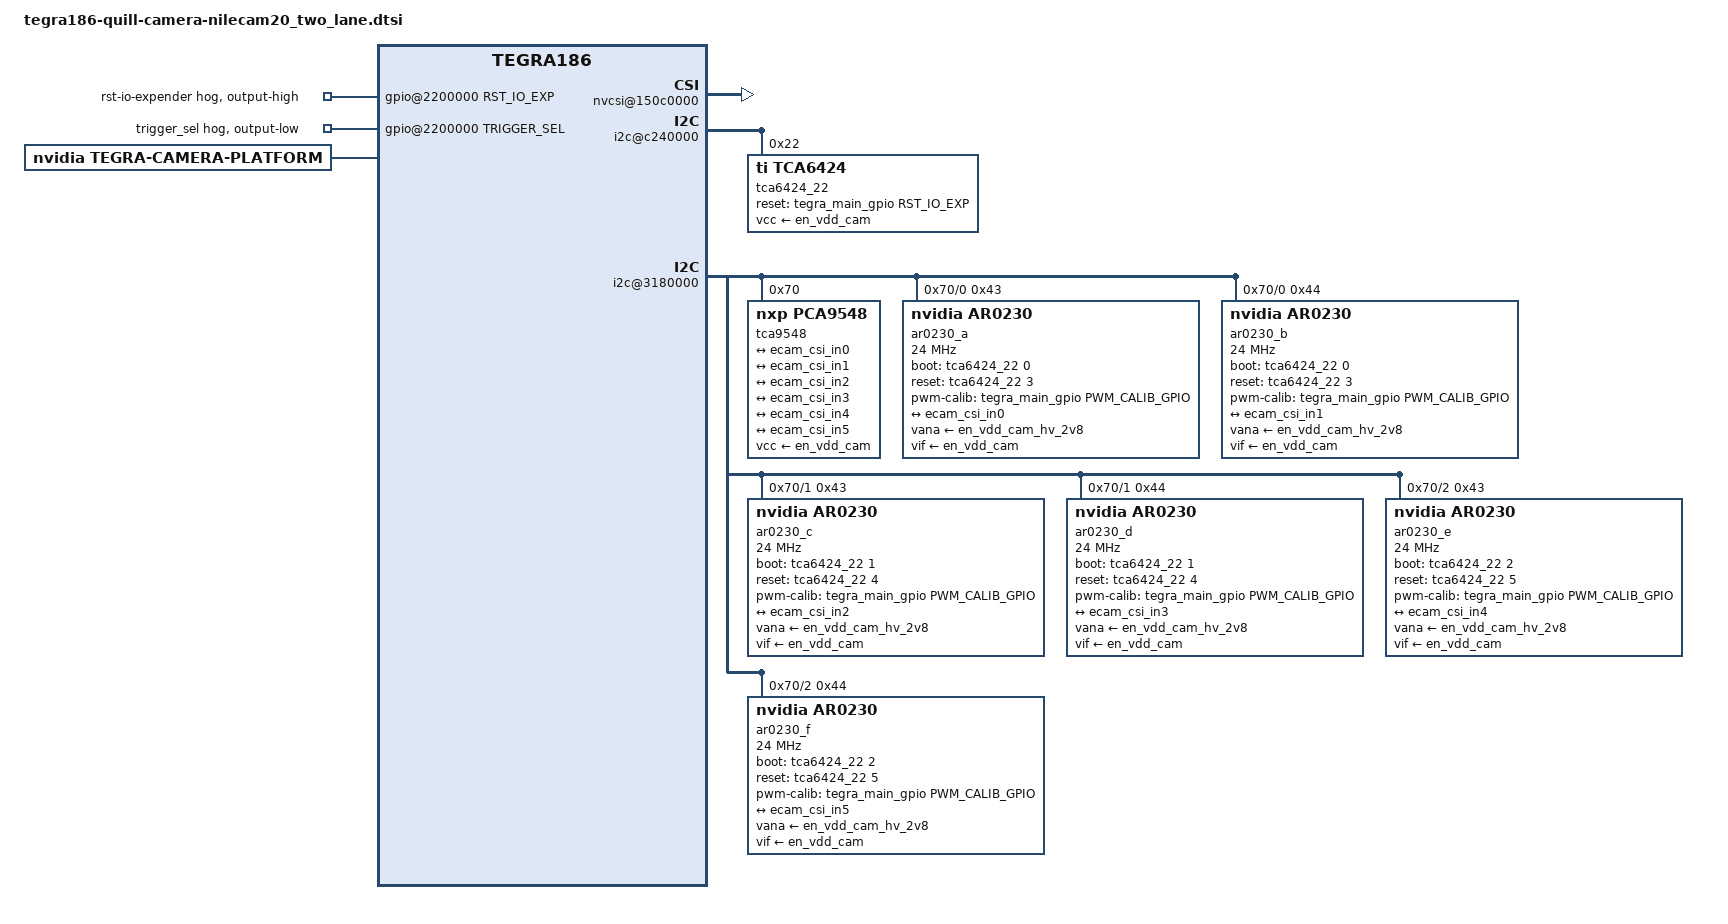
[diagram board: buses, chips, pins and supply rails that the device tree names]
/* Econ device tree for AR0230 support */
#include "dt-bindings/clock/tegra186-clock.h"
#define PWM_CALIB_GPIO	TEGRA_MAIN_GPIO(R, 0)
#define TRIGGER_SEL	TEGRA_MAIN_GPIO(R, 5)
#define RST_IO_EXP 	TEGRA_MAIN_GPIO(R, 1)

#define CAM_LANES 2
#define CAM_LANES_STRING "2"

/* Enable Six overlays in Jetson TX2 */
&head1 {
	win-mask = <0x3f>;
};
/* Disable en_vdd_sys for using ECON PWM Chip */
&en_vdd_sys{
	status="disabled";
};

/ {
	gpio@2200000 {
		camera-control-output-high {
                        status = "okay";
                        gpio-hog;
                        gpios = <RST_IO_EXP 0>;
                        output-high;
                        label = "rst-io-expender";
                };
		camera-control-output-low {
                        status = "okay";
			gpio-hog;
			gpios = <TRIGGER_SEL 0>;
			output-low;
			label = "trigger_sel";
		};
	};

	host1x {
		vi@15700000 {
			num-channels = <6>;
			#address-cells = <1>;
			#size-cells = <0>;
			status = "okay";
			ports {
				#address-cells = <1>;
				#size-cells = <0>;
				port@0 {
					reg = <0>;
					status = "okay";
					ecam_vi_in0: endpoint {
						status = "okay";
						port-index = <0>;
						bus-width = <CAM_LANES>;
						remote-endpoint = <&ecam_csi_out0>;
					};
				};
				port@1 {
                                        reg = <1>;
					status = "okay";
                                        ecam_vi_in1: endpoint {
						status = "okay";
                                                port-index = <1>;
                                                bus-width = <CAM_LANES>;
                                                remote-endpoint = <&ecam_csi_out1>;
                                        };
                                };
                		port@2 {
                                        reg = <2>;
					status = "okay";
                                        ecam_vi_in2: endpoint {
						status = "okay";
                                                port-index = <2>;
                                                bus-width = <CAM_LANES>;
                                                remote-endpoint = <&ecam_csi_out2>;
                                        };
                                };
				port@3 {
                                        reg = <3>;
					status = "okay";
                                        ecam_vi_in3: endpoint {
						status = "okay";
                                                port-index = <3>;
                                                bus-width = <CAM_LANES>;
                                                remote-endpoint = <&ecam_csi_out3>;
                                        };
                                };
				port@4 {
                                        reg = <4>;
					status = "okay";
                                        ecam_vi_in4: endpoint {
						status = "okay";
                                                port-index = <4>;
                                                bus-width = <CAM_LANES>;
                                                remote-endpoint = <&ecam_csi_out4>;
                                        };
                                };
				port@5 {
                                        reg = <5>;
					status = "okay";
                                        ecam_vi_in5: endpoint {
						status = "okay";
                                                port-index = <5>;
                                                bus-width = <CAM_LANES>;
                                                remote-endpoint = <&ecam_csi_out5>;
                                        };
                                };
			};
		};
		
		nvcsi@150c0000 {
			num-channels = <6>;
			#address-cells = <1>;
			#size-cells = <0>;
			status = "okay";
	    		channel@0 {
				reg = <0>;
				status = "okay";
				ports {
					#address-cells = <1>;
					#size-cells = <0>;
					port@0 {
						reg = <0>;
						status = "okay";
						ecam_csi_in0: endpoint@0 {
							status = "okay";
							port-index = <0>;
							bus-width = <CAM_LANES>;
							remote-endpoint = <&ecam_ar0230_out0>;
						};
					};
					port@1 {
						reg = <1>;
						status = "okay";
						ecam_csi_out0: endpoint@1 {
							status = "okay";
							remote-endpoint = <&ecam_vi_in0>;
						};
					};
				};
			};
            		channel@1 {
                                reg = <1>;
				status = "okay";
                                ports {
                                        #address-cells = <1>;
                                        #size-cells = <0>;
                                        port@0 {
                                                reg = <0>;
						status = "okay";
                                                ecam_csi_in1: endpoint@2 {
							status = "okay";
                                                        port-index = <1>;
                                                        bus-width = <CAM_LANES>;
                                                        remote-endpoint = <&ecam_ar0230_out1>;
                                                };
                                        };
                                        port@1 {
                                                reg = <1>;
						status = "okay";
                                                ecam_csi_out1: endpoint@3 {
							status = "okay";
                                                        remote-endpoint = <&ecam_vi_in1>;
                                                };
                                        };
                                };
                        };
            		channel@2 {
                                reg = <2>;
				status = "okay";
                                ports {
                                        #address-cells = <1>;
                                        #size-cells = <0>;
                                        port@0 {
                                                reg = <0>;
						status = "okay";
                                                ecam_csi_in2: endpoint@4 {
							status = "okay";
                                                        port-index = <2>;
                                                        bus-width = <CAM_LANES>;
                                                        remote-endpoint = <&ecam_ar0230_out2>;
                                                };
                                        };
                                        port@1 {
                                                reg = <1>;
						status = "okay";
                                                ecam_csi_out2: endpoint@5 {
							status = "okay";
                                                        remote-endpoint = <&ecam_vi_in2>;
                                                };
                                        };
                                };
                        };
			channel@3 {
                                reg = <3>;
				status = "okay";
                                ports {
                                        #address-cells = <1>;
                                        #size-cells = <0>;
                                        port@0 {
                                                reg = <0>;
						status = "okay";
                                                ecam_csi_in3: endpoint@6 {
							status = "okay";
                                                        port-index = <3>;
                                                        bus-width = <CAM_LANES>;
                                                        remote-endpoint = <&ecam_ar0230_out3>;
                                                };
                                        };
                                        port@1 {
                                                reg = <1>;
						status = "okay";
                                                ecam_csi_out3: endpoint@7 {
							status = "okay";
                                                        remote-endpoint = <&ecam_vi_in3>;
                                                };
                                        };
                                };
                        };
			channel@4 {
                                reg = <4>;
				status = "okay";
                                ports {
                                        #address-cells = <1>;
                                        #size-cells = <0>;
                                        port@0 {
                                                reg = <0>;
						status = "okay";
                                                ecam_csi_in4: endpoint@8 {
							status = "okay";
                                                        port-index = <4>;
                                                        bus-width = <CAM_LANES>;
                                                        remote-endpoint = <&ecam_ar0230_out4>;
                                                };
                                        };
                                        port@1 {
                                                reg = <1>;
						status = "okay";
                                                ecam_csi_out4: endpoint@9 {
							status = "okay";
                                                        remote-endpoint = <&ecam_vi_in4>;
                                                };
                                        };
                                };
                        };
			channel@5 {
				reg = <5>;
				status = "okay";
				ports {
					#address-cells = <1>;
					#size-cells = <0>;
					port@0 {
						reg = <0>;
						status = "okay";
						ecam_csi_in5: endpoint@10 {
							status = "okay";
							port-index = <5>;
							bus-width = <CAM_LANES>;
							remote-endpoint = <&ecam_ar0230_out5>;
						};
					};
					port@1 {
						reg = <1>;
						status = "okay";
						ecam_csi_out5: endpoint@11 {
							status = "okay";
							remote-endpoint = <&ecam_vi_in5>;
						};
					};
				};
			};
		};
	};

	i2c@c240000{
		status = "okay";
		#address-cells = <1>;
		#size-cells = <0>;
		tca6424_22: tca6424@22 {
			    compatible = "ti,tca6424";
			    gpio-controller;
			    #gpio-cells = <2>;
			    reg = <0x22>;
			    vcc-supply = <&en_vdd_cam>;
			    reset-gpios = <&tegra_main_gpio RST_IO_EXP GPIO_ACTIVE_HIGH>; 
			    status = "okay";
			    tca6424_22_outlow {
				    /*
				     * GPIO-0  : RST_CAM1
				     * GPIO-1  : RST_CAM2
				     * GPIO-2  : RST_CAM3
				     * GPIO-3  : RST_CAM4
				     * GPIO-4  : RST_CAM5
				     * GPIO-5  : RST_CAM6
				     * GPIO-7  : PWDN_CAM2
				     * GPIO-8  : PWDN_CAM3
				     * GPIO-9  : PWDN_CAM4
				     * GPIO-10 : PWDN_CAM5
				     * GPIO-11 : PWDN_CAM6
				     */
	
				    gpio-hog;
				    gpios = <0 0 1 0 2 0 6 0 7 0 8 0 9 0 10 0 11 0 12 0 13 0 14 0 15 0 19 0 20 0 21 0 22 0 23 0>;
				    output-low;
				    label = "tca6424_22_outlow_0",
					  "tca6424_22_outlow_1",
					  "tca6424_22_outlow_2",
					  "tca6424_22_outlow_3",
					  "tca6424_22_outlow_4",
					  "tca6424_22_outlow_5",
					  "tca6424_22_outlow_7",
					  "tca6424_22_outlow_8",
					  "tca6424_22_outlow_9",
					  "tca6424_22_outlow_10",
					  "tca6424_22_outlow_11",
					  "tca6424_22_outlow_12",
					  "tca6424_22_outlow_13";
			    };
		    tca6424_22_outhigh {
			 gpio-hog;
			 gpios = < 3 0 4 0 5 0 16 0 17 0 18 0>;
			 output-high;
			 label = "tca6424_22_outhigh_3",
			 	 "tca6424_22_outhigh_4",
			 	 "tca6424_22_outhigh_5",
			         "tca6424_22_outhigh_16",
			         "tca6424_22_outhigh_17",
			         "tca6424_22_outhigh_18";
		    };
		    tca6424_22_input {
			    status = "disabled";
		    };
	    };

 	};
	/* i2c-2 - 3180000 for e-con camera */
	i2c@3180000 {
		status = "okay";
		#address-cells = <1>;
		#size-cells = <0>;
		tca9548@70 {	
			compatible = "nxp,pca9548";
			reg = <0x70>;
			#address-cells = <1>;
			#size-cells = <0>;
			vcc-supply = <&en_vdd_cam>;
			skip_mux_detect;
			force_bus_start = <0x1e>;
			i2c@0 {
				reg = <0>;
				i2c-mux,deselect-on-exit;
				#address-cells = <1>;
				#size-cells = <0>;
				status = "okay";
				ar0230_a@43 {
					status = "okay";
					compatible = "nvidia,ar0230";
					reg = <0x43>;
					sensor_model ="ar0230";
					avdd-reg = "vana";
					iovdd-reg = "vif";
					clocks = <&tegra_car TEGRA186_CLK_EXTPERIPH1>,
							 <&tegra_car TEGRA186_CLK_PLLP_OUT0>;
					clock-names = "extperiph1", "pllp_grtba";
					mclk = "extperiph1";
					clock-frequency = <24000000>;
					boot-gpios = <&tca6424_22 0 GPIO_ACTIVE_HIGH>;
					reset-gpios = <&tca6424_22 3 GPIO_ACTIVE_HIGH>; 
					vana-supply = <&en_vdd_cam_hv_2v8>;
					vif-supply = <&en_vdd_cam>;
					use_sensor_mode_id = "false";
					camera_mipi_lanes = <2>;
					sio-port = "A";
				        pwm-invert= <1>;
                                        pwm-duty_ns = <0x1CBC720>;
                                        pwm-period_ns = <0x2037FE7>;
                                        pwm-calib-gpio = <&tegra_main_gpio PWM_CALIB_GPIO GPIO_ACTIVE_HIGH>;
                                        pwm-name = "ecam-trigger";
#define TEGRA_SINTERFACE "serial_a"
#include "nilecam20_cuxvr_mode.dtsi"	
					ports {
						#address-cells = <1>;
						#size-cells = <0>;
						port@0 {
							reg = <0>;
							ecam_ar0230_out0: endpoint {
								port-index = <0>;
								bus-width = <CAM_LANES>;
								remote-endpoint = <&ecam_csi_in0>;
								};
							};
						};
					};
				ar0230_b@44 {
					status = "okay";
					compatible = "nvidia,ar0230";
					reg = <0x44>;
					sensor_model ="ar0230";
					avdd-reg = "vana";
					iovdd-reg = "vif";
					clocks = <&tegra_car TEGRA186_CLK_EXTPERIPH1>,
							 <&tegra_car TEGRA186_CLK_PLLP_OUT0>;
					clock-names = "extperiph1", "pllp_grtba";
					mclk = "extperiph1";
					clock-frequency = <24000000>;
					boot-gpios = <&tca6424_22 0 GPIO_ACTIVE_HIGH>;
					reset-gpios = <&tca6424_22 3 GPIO_ACTIVE_HIGH>; 
					vana-supply = <&en_vdd_cam_hv_2v8>;
					vif-supply = <&en_vdd_cam>;
					use_sensor_mode_id = "false";
					camera_mipi_lanes = <2>;	
					sio-port = "B";	
				        pwm-invert= <1>;
                                        pwm-duty_ns = <0x1CBC720>;
                                        pwm-period_ns = <0x2037FE7>;
                                        pwm-calib-gpio = <&tegra_main_gpio PWM_CALIB_GPIO GPIO_ACTIVE_HIGH>;
                                        pwm-name = "ecam-trigger";
#undef TEGRA_SINTERFACE	
#define TEGRA_SINTERFACE "serial_b"
#include "nilecam20_cuxvr_mode.dtsi"	
					ports {
						#address-cells = <1>;
						#size-cells = <0>;
						port@0 {
							reg = <0>;
							ecam_ar0230_out1: endpoint {
								port-index = <1>;
								bus-width = <CAM_LANES>;
								remote-endpoint = <&ecam_csi_in1>;
								};
							};
						};
					};
				};
			i2c@1 {
				reg = <1>;
				i2c-mux,deselect-on-exit;
				#address-cells = <1>;
				#size-cells = <0>;
				status = "okay";
				ar0230_c@43 {
					status = "okay";
					compatible = "nvidia,ar0230";
					reg = <0x43>;
					sensor_model ="ar0230";
					avdd-reg = "vana";
					iovdd-reg = "vif";
					clocks = <&tegra_car TEGRA186_CLK_EXTPERIPH1>,
							 <&tegra_car TEGRA186_CLK_PLLP_OUT0>;
					clock-names = "extperiph1", "pllp_grtba";
					mclk = "extperiph1";
					clock-frequency = <24000000>;
					boot-gpios = <&tca6424_22 1 GPIO_ACTIVE_HIGH>;
					reset-gpios = <&tca6424_22 4 GPIO_ACTIVE_HIGH>; 
					vana-supply = <&en_vdd_cam_hv_2v8>;
					vif-supply = <&en_vdd_cam>;
					use_sensor_mode_id = "false";
					camera_mipi_lanes = <2>;
					sio-port = "A";	
				        pwm-invert= <1>;
                                        pwm-duty_ns = <0x1CBC720>;
                                        pwm-period_ns = <0x2037FE7>;
                                        pwm-calib-gpio = <&tegra_main_gpio PWM_CALIB_GPIO GPIO_ACTIVE_HIGH>;
                                        pwm-name = "ecam-trigger";	
#undef TEGRA_SINTERFACE	
#define TEGRA_SINTERFACE "serial_c"
#include "nilecam20_cuxvr_mode.dtsi"	
					ports {
						#address-cells = <1>;
						#size-cells = <0>;
						port@0 {
							reg = <0>;
							ecam_ar0230_out2: endpoint {
								port-index = <2>;
								bus-width = <CAM_LANES>;
								remote-endpoint = <&ecam_csi_in2>;
								};
							};
						};
					};
				ar0230_d@44 {
					status = "okay";
					compatible = "nvidia,ar0230";
					reg = <0x44>;
					sensor_model ="ar0230";
					avdd-reg = "vana";
					iovdd-reg = "vif";
					clocks = <&tegra_car TEGRA186_CLK_EXTPERIPH1>,
							 <&tegra_car TEGRA186_CLK_PLLP_OUT0>;
					clock-names = "extperiph1", "pllp_grtba";
					mclk = "extperiph1";
					clock-frequency = <24000000>;
					boot-gpios = <&tca6424_22 1 GPIO_ACTIVE_HIGH>;
					reset-gpios = <&tca6424_22 4 GPIO_ACTIVE_HIGH>;
					vana-supply = <&en_vdd_cam_hv_2v8>;
					vif-supply = <&en_vdd_cam>;
					use_sensor_mode_id = "false";
					camera_mipi_lanes = <2>;	
					sio-port = "B";	
				        pwm-invert= <1>;
                                        pwm-duty_ns = <0x1CBC720>;
                                        pwm-period_ns = <0x2037FE7>;
                                        pwm-calib-gpio = <&tegra_main_gpio PWM_CALIB_GPIO GPIO_ACTIVE_HIGH>;
                                        pwm-name = "ecam-trigger";	
#undef TEGRA_SINTERFACE	
#define TEGRA_SINTERFACE "serial_d"
#include "nilecam20_cuxvr_mode.dtsi"	
					ports {
						#address-cells = <1>;
						#size-cells = <0>;
						port@0 {
							reg = <0>;
							ecam_ar0230_out3: endpoint {
								port-index = <3>;
								bus-width = <CAM_LANES>;
								remote-endpoint = <&ecam_csi_in3>;
								};
							};
						};
					};
				};
			i2c@2 {
				reg = <2>;
				i2c-mux,deselect-on-exit;
				#address-cells = <1>;
				#size-cells = <0>;
				status = "okay";
				ar0230_e@43 {
					status = "okay";
					compatible = "nvidia,ar0230";
					reg = <0x43>;
					sensor_model ="ar0230";
					avdd-reg = "vana";
					iovdd-reg = "vif";
					clocks = <&tegra_car TEGRA186_CLK_EXTPERIPH1>,
							 <&tegra_car TEGRA186_CLK_PLLP_OUT0>;
					clock-names = "extperiph1", "pllp_grtba";
					mclk = "extperiph1";
					clock-frequency = <24000000>;
					boot-gpios = <&tca6424_22 2 GPIO_ACTIVE_HIGH>;
					reset-gpios = <&tca6424_22 5 GPIO_ACTIVE_HIGH>;
 					vana-supply = <&en_vdd_cam_hv_2v8>;
					vif-supply = <&en_vdd_cam>;
					use_sensor_mode_id = "false";
					camera_mipi_lanes = <2>;	
					sio-port = "A";	
				        pwm-invert= <1>;
                                        pwm-duty_ns = <0x1CBC720>;
                                        pwm-period_ns = <0x2037FE7>;
                                        pwm-calib-gpio = <&tegra_main_gpio PWM_CALIB_GPIO GPIO_ACTIVE_HIGH>;
                                        pwm-name = "ecam-trigger";	
#undef TEGRA_SINTERFACE	
#define TEGRA_SINTERFACE "serial_e"
#include "nilecam20_cuxvr_mode.dtsi"	
					ports {
						#address-cells = <1>;
						#size-cells = <0>;
						port@0 {
							reg = <0>;
							ecam_ar0230_out4: endpoint {
								port-index = <4>;
								bus-width = <CAM_LANES>;
								remote-endpoint = <&ecam_csi_in4>;
								};
							};
						};
					};
				ar0230_f@44 {
					status = "okay";
					compatible = "nvidia,ar0230";
					reg = <0x44>;
					sensor_model ="ar0230";
					avdd-reg = "vana";
					iovdd-reg = "vif";
					clocks = <&tegra_car TEGRA186_CLK_EXTPERIPH1>,
							 <&tegra_car TEGRA186_CLK_PLLP_OUT0>;
					clock-names = "extperiph1", "pllp_grtba";
					mclk = "extperiph1";
					clock-frequency = <24000000>;
					boot-gpios = <&tca6424_22 2 GPIO_ACTIVE_HIGH>;
					reset-gpios = <&tca6424_22 5 GPIO_ACTIVE_HIGH>;
					vana-supply = <&en_vdd_cam_hv_2v8>;
					vif-supply = <&en_vdd_cam>;
					use_sensor_mode_id = "false";
					camera_mipi_lanes = <2>;	
					sio-port = "B";	
				        pwm-invert= <1>;
                                        pwm-duty_ns = <0x1CBC720>;
                                        pwm-period_ns = <0x2037FE7>;
                                        pwm-calib-gpio = <&tegra_main_gpio PWM_CALIB_GPIO GPIO_ACTIVE_HIGH>;
                                        pwm-name = "ecam-trigger";	
#undef TEGRA_SINTERFACE	
#define TEGRA_SINTERFACE "serial_f"
#include "nilecam20_cuxvr_mode.dtsi"	
					ports {
						#address-cells = <1>;
						#size-cells = <0>;
						port@0 {
							reg = <0>;
							ecam_ar0230_out5: endpoint {
								port-index = <5>;
								bus-width = <CAM_LANES>;
								remote-endpoint = <&ecam_csi_in5>;
								};
							};
						};
					};
				};
			};
		};
	tegra-camera-platform {
		compatible = "nvidia, tegra-camera-platform";
		modules {
			module0 {
				badge = "nilecam21_cuxvr";
				position = "bottomleft";
				orientation = "1";
				drivernode0 {
					pcl_id = "v4l2_sensor";
					devname = "ar0230 30-0043";
					proc-device-tree = "/proc/device-tree/i2c@3180000/tca9548@70/i2c@0/ar0230_a@43";
					status = "okay";
				};
			};
			module1 {
				badge = "nilecam21_cuxvr";
				position = "bottomright";
				orientation = "1";
				drivernode0 {
					pcl_id = "v4l2_sensor";
					devname = "ar0230 30-0044";
					proc-device-tree = "/proc/device-tree/i2c@3180000/tca9548@70/i2c@0/ar0230_b@44";
					status = "okay";
				};
			};
			module2 {
				badge = "nilecam21_cuxvr";
				position = "centerleft";
				orientation = "1";
				drivernode0 {
					pcl_id = "v4l2_sensor";
					devname = "ar0230 31-0043";
					proc-device-tree = "/proc/device-tree/i2c@3180000/tca9548@70/i2c@1/ar0230_c@43";
					status = "okay";
				};
			};
			module3 {
				badge = "nilecam21_cuxvr";
				position = "centerright";
				orientation = "1";
				drivernode0 {
					pcl_id = "v4l2_sensor";
					devname = "ar0230 31-0044";
					proc-device-tree = "/proc/device-tree/i2c@3180000/tca9548@70/i2c@1/ar0230_d@44";
					status = "okay";
				};
			};
			module4 {
				badge = "nilecam21_cuxvr";
				position = "topleft";
				orientation = "1";
				drivernode0 {
					pcl_id = "v4l2_sensor";
					devname = "ar0230 32-0043";
					proc-device-tree = "/proc/device-tree/i2c@3180000/tca9548@70/i2c@2/ar0230_e@43";
					status = "okay";
				};
			};
			module5 {
				badge = "nilecam21_cuxvr";
				position = "topright";
				orientation = "1";
				drivernode0 {
					pcl_id = "v4l2_sensor";
					devname = "ar0230 32-0044";
					proc-device-tree = "/proc/device-tree/i2c@3180000/tca9548@70/i2c@2/ar0230_f@44";
					status = "okay";
				};
			};
		};
	};
};



